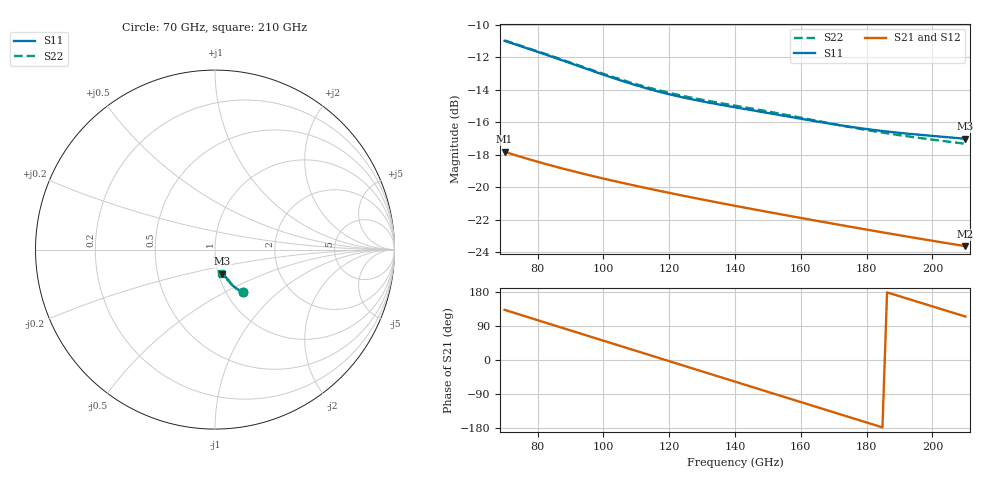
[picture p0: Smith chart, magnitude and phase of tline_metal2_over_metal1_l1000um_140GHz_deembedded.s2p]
! Created with skrf 2.2.0 (http://scikit-rf.org).
# GHz S DB R 50.0
! Port[1] = P1
! Port[2] = P2
!freq dBS11 angS11 dBS21 angS21 dBS12 angS12 dBS22 angS22
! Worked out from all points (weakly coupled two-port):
!   101 points, 70 GHz to 210 GHz, reference 50 ohm
!   highest |S21| = -17.82 dB at 70 GHz (marker M1); lowest = -23.6 dB at 210 GHz (marker M2)
!   lowest |S11| = -17.0 dB at 210 GHz (marker M3), VSWR 1.33, Z = 52.3 - j14.4 ohm
!   |S11| at or under -10 dB: start of sweep to end of sweep
!   |S22| runs from -17.3 to -11.0 dB; largest |S21 - S12| = 8.3e-14
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70  -10.99 -56.4  -17.82 132.3  -17.82 132.3  -10.96 -56.5
75.6  -11.36 -58.0  -18.17 117.1  -18.17 117.1  -11.33 -58.1
81.2  -11.75 -59.6  -18.50 101.9  -18.50 101.9  -11.71 -59.7
86.8  -12.14 -61.0  -18.81 86.7  -18.81 86.7  -12.10 -61.2
93.8  -12.63 -62.7  -19.17 67.8  -19.17 67.8  -12.59 -62.9
100.8  -13.12 -63.9  -19.51 48.9  -19.51 48.9  -13.07 -64.2
106.4  -13.50 -64.6  -19.76 33.7  -19.76 33.7  -13.43 -65.0
112  -13.84 -65.1  -20.01 18.6  -20.01 18.6  -13.77 -65.6
117.6  -14.15 -65.5  -20.25 3.4  -20.25 3.4  -14.07 -66.0
127.4  -14.61 -66.1  -20.65 -23.1  -20.65 -23.1  -14.51 -66.9
134.4  -14.88 -66.6  -20.93 -42.0  -20.93 -42.0  -14.78 -67.6
140  -15.08 -67.1  -21.15 -57.1  -21.15 -57.1  -14.97 -68.3
145.6  -15.28 -67.7  -21.36 -72.2  -21.36 -72.2  -15.17 -69.1
151.2  -15.47 -68.3  -21.57 -87.3  -21.57 -87.3  -15.38 -69.9
156.8  -15.67 -68.9  -21.78 -102.4  -21.78 -102.4  -15.59 -70.7
163.8  -15.92 -69.5  -22.03 -121.3  -22.03 -121.3  -15.87 -71.6
170.8  -16.15 -70.0  -22.29 -140.2  -22.29 -140.2  -16.14 -72.4
176.4  -16.32 -70.3  -22.49 -155.2  -22.49 -155.2  -16.35 -72.9
182  -16.47 -70.6  -22.68 -170.3  -22.68 -170.3  -16.55 -73.3
187.6  -16.60 -70.9  -22.88 174.7  -22.88 174.7  -16.73 -73.7
197.4  -16.80 -71.6  -23.21 148.4  -23.21 148.4  -17.00 -74.5
210  -17.02 -72.8  -23.63 114.7  -23.63 114.7  -17.33 -75.6
